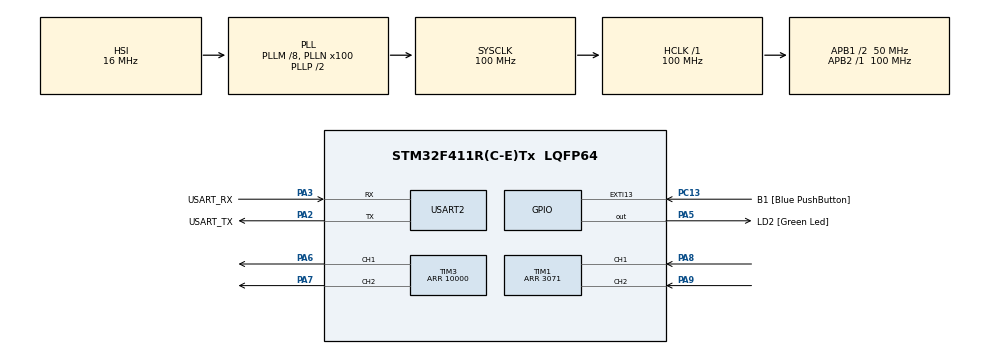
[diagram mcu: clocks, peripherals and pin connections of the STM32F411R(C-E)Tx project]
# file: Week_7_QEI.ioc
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Mcu.Family=STM32F4
Mcu.Name=STM32F411R(C-E)Tx
Mcu.Package=LQFP64
NVIC.PriorityGroup=NVIC_PRIORITYGROUP_0
NVIC.TIM2_IRQn=true\:0\:0\:false\:false\:true\:true\:true
PA13.GPIO_Label=TMS
PA13.Mode=Serial_Wire
PA13.Signal=SYS_JTMS-SWDIO
PA14.GPIO_Label=TCK
PA14.Mode=Serial_Wire
PA14.Signal=SYS_JTCK-SWCLK
PA2.GPIO_Label=USART_TX
PA2.Mode=Asynchronous
PA2.Signal=USART2_TX
PA3.GPIO_Label=USART_RX
PA3.Mode=Asynchronous
PA3.Signal=USART2_RX
PA5.GPIO_Label=LD2 [Green Led]
PA5.Signal=GPIO_Output
PA6.Signal=S_TIM3_CH1
PA7.Signal=S_TIM3_CH2
PA8.Signal=S_TIM1_CH1
PA9.Signal=S_TIM1_CH2
PB3.GPIO_Label=SWO
PB3.Signal=SYS_JTDO-SWO
PC13-ANTI_TAMP.GPIO_Label=B1 [Blue PushButton]
PC13-ANTI_TAMP.GPIO_ModeDefaultEXTI=GPIO_MODE_IT_FALLING
PC13-ANTI_TAMP.Signal=GPXTI13
PC14-OSC32_IN.Mode=LSE-External-Oscillator
PC14-OSC32_IN.Signal=RCC_OSC32_IN
PC15-OSC32_OUT.Mode=LSE-External-Oscillator
PC15-OSC32_OUT.Signal=RCC_OSC32_OUT
PH0\ -\ OSC_IN.Mode=HSE-External-Clock-Source
PH0\ -\ OSC_IN.Signal=RCC_OSC_IN
PH1\ -\ OSC_OUT.Mode=HSE-External-Clock-Source
PH1\ -\ OSC_OUT.Signal=RCC_OSC_OUT
ProjectManager.HeapSize=0x200
ProjectManager.StackSize=0x400
ProjectManager.TargetToolchain=STM32CubeIDE
RCC.48MHZClocksFreq_Value=50000000
RCC.AHBFreq_Value=100000000
RCC.APB1CLKDivider=RCC_HCLK_DIV2
RCC.APB1Freq_Value=50000000
RCC.APB1TimFreq_Value=100000000
RCC.APB2Freq_Value=100000000
RCC.APB2TimFreq_Value=100000000
RCC.CortexFreq_Value=100000000
RCC.FLatency-AdvancedSettings=FLASH_LATENCY_3
RCC.HCLKFreq_Value=100000000
RCC.HSE_VALUE=8000000
RCC.HSI_VALUE=16000000
RCC.PLLM=8
RCC.PLLN=100
RCC.SYSCLKFreq_VALUE=100000000
RCC.SYSCLKSource=RCC_SYSCLKSOURCE_PLLCLK
RCC.VCOOutputFreq_Value=200000000
SH.S_TIM1_CH1.0=TIM1_CH1,Encoder_Interface
SH.S_TIM1_CH2.0=TIM1_CH2,Encoder_Interface
SH.S_TIM3_CH1.0=TIM3_CH1,PWM Generation1 CH1
SH.S_TIM3_CH2.0=TIM3_CH2,PWM Generation2 CH2
TIM1.EncoderMode=TIM_ENCODERMODE_TI12
TIM1.Period=3071
TIM2.Prescaler=99
TIM3.Channel-PWM\ Generation1\ CH1=TIM_CHANNEL_1
TIM3.Channel-PWM\ Generation2\ CH2=TIM_CHANNEL_2
TIM3.Period=10000
USART2.VirtualMode=VM_ASYNC
VP_TIM2_VS_ClockSourceINT.Mode=Internal
VP_TIM3_VS_ClockSourceINT.Mode=Internal
board=NUCLEO-F411RE

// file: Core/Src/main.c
/* USER CODE BEGIN Header */
/**
  ******************************************************************************
  * @file           : main.c
  * @brief          : Main program body
  ******************************************************************************
  * @attention
  *
  * <h2><center>&copy; Copyright (c) 2021 STMicroelectronics.
  * All rights reserved.</center></h2>
  *
  * This software component is licensed by ST under BSD 3-Clause license,
  * the "License"; You may not use this file except in compliance with the
  * License. You may obtain a copy of the License at:
  *                        opensource.org/licenses/BSD-3-Clause
  *
  ******************************************************************************
  */
/* USER CODE END Header */
#include "main.h"

TIM_HandleTypeDef htim1;
TIM_HandleTypeDef htim2;
TIM_HandleTypeDef htim3;

UART_HandleTypeDef huart2;

/* USER CODE BEGIN PV */
uint64_t _micros = 0;
float EncoderVel = 0;
uint64_t Timestamp_Encoder = 0;
float PWMOut = 3000;
float MotorRPM = 0;
int State = 99;

// Control Value
int Setpoint = 15;
float Kp = 0, Ki = 0, Kd = 0;

// PID Variable
float NowError = 0;
float LastError = 0;
float IntegralError = 0;

/* USER CODE END PV */

void SystemClock_Config(void);
static void MX_GPIO_Init(void);
static void MX_USART2_UART_Init(void);
static void MX_TIM1_Init(void);
static void MX_TIM2_Init(void);
static void MX_TIM3_Init(void);
/* USER CODE BEGIN PFP */
uint64_t micros();
float EncoderVelocity_Update();
/* USER CODE END PFP */

int main(void)
{

  /* MCU Configuration--------------------------------------------------------*/

  /* Reset of all peripherals, Initializes the Flash interface and the Systick. */
  HAL_Init();

  /* Configure the system clock */
  SystemClock_Config();

  /* Initialize all configured peripherals */
  MX_GPIO_Init();
  MX_USART2_UART_Init();
  MX_TIM1_Init();
  MX_TIM2_Init();
  MX_TIM3_Init();
  /* USER CODE BEGIN 2 */

  // Start _micros
  HAL_TIM_Base_Start_IT(&htim2);
  // Start Encoder
  HAL_TIM_Encoder_Start(&htim1, TIM_CHANNEL_ALL);
  // Start PWM
  HAL_TIM_Base_Start(&htim3);
  HAL_TIM_PWM_Start(&htim3, TIM_CHANNEL_1);
  HAL_TIM_PWM_Start(&htim3, TIM_CHANNEL_2);

  /* USER CODE END 2 */

  /* Infinite loop */
  while (1)
  {

    /* USER CODE BEGIN 3 */

	  // Simple LPF
	  if (micros() - Timestamp_Encoder >= 1000)
	  {
		Timestamp_Encoder = micros();
		EncoderVel = (EncoderVel * 99 + EncoderVelocity_Update()) / 100.0;
		MotorRPM = EncoderVel * (60 / 3072.0);

		// PID Position Control
		NowError = Setpoint - MotorRPM;				// Deviation
		IntegralError = IntegralError + NowError;		// Integral of Deviation
		PWMOut = (Kp * NowError) + (Ki * IntegralError) + (Kd * (NowError - LastError));
		LastError = NowError;

		// Output
		if (PWMOut == 0)
		{
			State = 0;
			__HAL_TIM_SET_COMPARE(&htim3, TIM_CHANNEL_1, 1);
			__HAL_TIM_SET_COMPARE(&htim3, TIM_CHANNEL_2, 1);
		}

		else if (PWMOut > 0)
		{
			State = 1;
			__HAL_TIM_SET_COMPARE(&htim3, TIM_CHANNEL_1, PWMOut);
			__HAL_TIM_SET_COMPARE(&htim3, TIM_CHANNEL_2, 0);
		}

		else if (PWMOut < 0)
		{
			State = -1;
			PWMOut = PWMOut * (-1);
			__HAL_TIM_SET_COMPARE(&htim3, TIM_CHANNEL_1, 0);
			__HAL_TIM_SET_COMPARE(&htim3, TIM_CHANNEL_2, PWMOut);
		}

	  }

  }
  /* USER CODE END 3 */
}

void SystemClock_Config(void)
{
  RCC_OscInitTypeDef RCC_OscInitStruct = {0};
  RCC_ClkInitTypeDef RCC_ClkInitStruct = {0};

  /** Configure the main internal regulator output voltage
  */
  __HAL_RCC_PWR_CLK_ENABLE();
  __HAL_PWR_VOLTAGESCALING_CONFIG(PWR_REGULATOR_VOLTAGE_SCALE1);
  /** Initializes the RCC Oscillators according to the specified parameters
  * in the RCC_OscInitTypeDef structure.
  */
  RCC_OscInitStruct.OscillatorType = RCC_OSCILLATORTYPE_HSI;
  RCC_OscInitStruct.HSIState = RCC_HSI_ON;
  RCC_OscInitStruct.HSICalibrationValue = RCC_HSICALIBRATION_DEFAULT;
  RCC_OscInitStruct.PLL.PLLState = RCC_PLL_ON;
  RCC_OscInitStruct.PLL.PLLSource = RCC_PLLSOURCE_HSI;
  RCC_OscInitStruct.PLL.PLLM = 8;
  RCC_OscInitStruct.PLL.PLLN = 100;
  RCC_OscInitStruct.PLL.PLLP = RCC_PLLP_DIV2;
  RCC_OscInitStruct.PLL.PLLQ = 4;
  if (HAL_RCC_OscConfig(&RCC_OscInitStruct) != HAL_OK)
  {
    Error_Handler();
  }
  /** Initializes the CPU, AHB and APB buses clocks
  */
  RCC_ClkInitStruct.ClockType = RCC_CLOCKTYPE_HCLK|RCC_CLOCKTYPE_SYSCLK
                              |RCC_CLOCKTYPE_PCLK1|RCC_CLOCKTYPE_PCLK2;
  RCC_ClkInitStruct.SYSCLKSource = RCC_SYSCLKSOURCE_PLLCLK;
  RCC_ClkInitStruct.AHBCLKDivider = RCC_SYSCLK_DIV1;
  RCC_ClkInitStruct.APB1CLKDivider = RCC_HCLK_DIV2;
  RCC_ClkInitStruct.APB2CLKDivider = RCC_HCLK_DIV1;

  if (HAL_RCC_ClockConfig(&RCC_ClkInitStruct, FLASH_LATENCY_3) != HAL_OK)
  {
    Error_Handler();
  }
}

static void MX_TIM1_Init(void)
{

  TIM_Encoder_InitTypeDef sConfig = {0};
  TIM_MasterConfigTypeDef sMasterConfig = {0};

  htim1.Instance = TIM1;
  htim1.Init.Prescaler = 0;
  htim1.Init.CounterMode = TIM_COUNTERMODE_UP;
  htim1.Init.Period = 3071;
  htim1.Init.ClockDivision = TIM_CLOCKDIVISION_DIV1;
  htim1.Init.RepetitionCounter = 0;
  htim1.Init.AutoReloadPreload = TIM_AUTORELOAD_PRELOAD_DISABLE;
  sConfig.EncoderMode = TIM_ENCODERMODE_TI12;
  sConfig.IC1Polarity = TIM_ICPOLARITY_RISING;
  sConfig.IC1Selection = TIM_ICSELECTION_DIRECTTI;
  sConfig.IC1Prescaler = TIM_ICPSC_DIV1;
  sConfig.IC1Filter = 0;
  sConfig.IC2Polarity = TIM_ICPOLARITY_RISING;
  sConfig.IC2Selection = TIM_ICSELECTION_DIRECTTI;
  sConfig.IC2Prescaler = TIM_ICPSC_DIV1;
  sConfig.IC2Filter = 0;
  if (HAL_TIM_Encoder_Init(&htim1, &sConfig) != HAL_OK)
  {
    Error_Handler();
  }
  sMasterConfig.MasterOutputTrigger = TIM_TRGO_RESET;
  sMasterConfig.MasterSlaveMode = TIM_MASTERSLAVEMODE_DISABLE;
  if (HAL_TIMEx_MasterConfigSynchronization(&htim1, &sMasterConfig) != HAL_OK)
  {
    Error_Handler();
  }

}

static void MX_TIM2_Init(void)
{

  TIM_ClockConfigTypeDef sClockSourceConfig = {0};
  TIM_MasterConfigTypeDef sMasterConfig = {0};

  htim2.Instance = TIM2;
  htim2.Init.Prescaler = 99;
  htim2.Init.CounterMode = TIM_COUNTERMODE_UP;
  htim2.Init.Period = 4294967295;
  htim2.Init.ClockDivision = TIM_CLOCKDIVISION_DIV1;
  htim2.Init.AutoReloadPreload = TIM_AUTORELOAD_PRELOAD_DISABLE;
  if (HAL_TIM_Base_Init(&htim2) != HAL_OK)
  {
    Error_Handler();
  }
  sClockSourceConfig.ClockSource = TIM_CLOCKSOURCE_INTERNAL;
  if (HAL_TIM_ConfigClockSource(&htim2, &sClockSourceConfig) != HAL_OK)
  {
    Error_Handler();
  }
  sMasterConfig.MasterOutputTrigger = TIM_TRGO_RESET;
  sMasterConfig.MasterSlaveMode = TIM_MASTERSLAVEMODE_DISABLE;
  if (HAL_TIMEx_MasterConfigSynchronization(&htim2, &sMasterConfig) != HAL_OK)
  {
    Error_Handler();
  }

}

static void MX_TIM3_Init(void)
{

  TIM_ClockConfigTypeDef sClockSourceConfig = {0};
  TIM_MasterConfigTypeDef sMasterConfig = {0};
  TIM_OC_InitTypeDef sConfigOC = {0};

  htim3.Instance = TIM3;
  htim3.Init.Prescaler = 0;
  htim3.Init.CounterMode = TIM_COUNTERMODE_UP;
  htim3.Init.Period = 10000;
  htim3.Init.ClockDivision = TIM_CLOCKDIVISION_DIV1;
  htim3.Init.AutoReloadPreload = TIM_AUTORELOAD_PRELOAD_DISABLE;
  if (HAL_TIM_Base_Init(&htim3) != HAL_OK)
  {
    Error_Handler();
  }
  sClockSourceConfig.ClockSource = TIM_CLOCKSOURCE_INTERNAL;
  if (HAL_TIM_ConfigClockSource(&htim3, &sClockSourceConfig) != HAL_OK)
  {
    Error_Handler();
  }
  if (HAL_TIM_PWM_Init(&htim3) != HAL_OK)
  {
    Error_Handler();
  }
  sMasterConfig.MasterOutputTrigger = TIM_TRGO_RESET;
  sMasterConfig.MasterSlaveMode = TIM_MASTERSLAVEMODE_DISABLE;
  if (HAL_TIMEx_MasterConfigSynchronization(&htim3, &sMasterConfig) != HAL_OK)
  {
    Error_Handler();
  }
  sConfigOC.OCMode = TIM_OCMODE_PWM1;
  sConfigOC.Pulse = 0;
  sConfigOC.OCPolarity = TIM_OCPOLARITY_HIGH;
  sConfigOC.OCFastMode = TIM_OCFAST_DISABLE;
  if (HAL_TIM_PWM_ConfigChannel(&htim3, &sConfigOC, TIM_CHANNEL_1) != HAL_OK)
  {
    Error_Handler();
  }
  if (HAL_TIM_PWM_ConfigChannel(&htim3, &sConfigOC, TIM_CHANNEL_2) != HAL_OK)
  {
    Error_Handler();
  }
  HAL_TIM_MspPostInit(&htim3);

}

static void MX_USART2_UART_Init(void)
{

  huart2.Instance = USART2;
  huart2.Init.BaudRate = 115200;
  huart2.Init.WordLength = UART_WORDLENGTH_8B;
  huart2.Init.StopBits = UART_STOPBITS_1;
  huart2.Init.Parity = UART_PARITY_NONE;
  huart2.Init.Mode = UART_MODE_TX_RX;
  huart2.Init.HwFlowCtl = UART_HWCONTROL_NONE;
  huart2.Init.OverSampling = UART_OVERSAMPLING_16;
  if (HAL_UART_Init(&huart2) != HAL_OK)
  {
    Error_Handler();
  }

}

static void MX_GPIO_Init(void)
{
  GPIO_InitTypeDef GPIO_InitStruct = {0};

  /* GPIO Ports Clock Enable */
  __HAL_RCC_GPIOC_CLK_ENABLE();
  __HAL_RCC_GPIOH_CLK_ENABLE();
  __HAL_RCC_GPIOA_CLK_ENABLE();
  __HAL_RCC_GPIOB_CLK_ENABLE();

  /*Configure GPIO pin Output Level */
  HAL_GPIO_WritePin(LD2_GPIO_Port, LD2_Pin, GPIO_PIN_RESET);

  /*Configure GPIO pin : B1_Pin */
  GPIO_InitStruct.Pin = B1_Pin;
  GPIO_InitStruct.Mode = GPIO_MODE_IT_FALLING;
  GPIO_InitStruct.Pull = GPIO_NOPULL;
  HAL_GPIO_Init(B1_GPIO_Port, &GPIO_InitStruct);

  /*Configure GPIO pin : LD2_Pin */
  GPIO_InitStruct.Pin = LD2_Pin;
  GPIO_InitStruct.Mode = GPIO_MODE_OUTPUT_PP;
  GPIO_InitStruct.Pull = GPIO_NOPULL;
  GPIO_InitStruct.Speed = GPIO_SPEED_FREQ_LOW;
  HAL_GPIO_Init(LD2_GPIO_Port, &GPIO_InitStruct);

}

/* USER CODE BEGIN 4 */
#define  HTIM_ENCODER htim1
#define  MAX_SUBPOSITION_OVERFLOW 1536
#define  MAX_ENCODER_PERIOD 3072

float EncoderVelocity_Update()
{
	//Save Last state
	static uint32_t EncoderLastPosition = 0;
	static uint64_t EncoderLastTimestamp = 0;

	//read data
	uint32_t EncoderNowPosition = HTIM_ENCODER.Instance->CNT;
	uint64_t EncoderNowTimestamp = micros();

	int32_t EncoderPositionDiff;
	uint64_t EncoderTimeDiff;

	EncoderTimeDiff = EncoderNowTimestamp - EncoderLastTimestamp;
	EncoderPositionDiff = EncoderNowPosition - EncoderLastPosition;

	//compensate overflow and underflow
	if (EncoderPositionDiff >= MAX_SUBPOSITION_OVERFLOW)
	{
		EncoderPositionDiff -= MAX_ENCODER_PERIOD;
	}
	else if (-EncoderPositionDiff >= MAX_SUBPOSITION_OVERFLOW)
	{
		EncoderPositionDiff += MAX_ENCODER_PERIOD;
	}

	//Update Position and time
	EncoderLastPosition = EncoderNowPosition;
	EncoderLastTimestamp = EncoderNowTimestamp;

	//Calculate velocity
	//EncoderTimeDiff is in uS
	return (((EncoderPositionDiff * 1000000) / (float) EncoderTimeDiff));

}

void HAL_TIM_PeriodElapsedCallback(TIM_HandleTypeDef *htim)
{
	if (htim == &htim2)
	{
		_micros += 4294967295;
	}
}

uint64_t micros()
{
	return _micros + htim2.Instance->CNT;
}

/* USER CODE END 4 */

void Error_Handler(void)
{
  __disable_irq();
  while (1)
  {
  }
}

/************************ (C) COPYRIGHT STMicroelectronics *****END OF FILE****/
